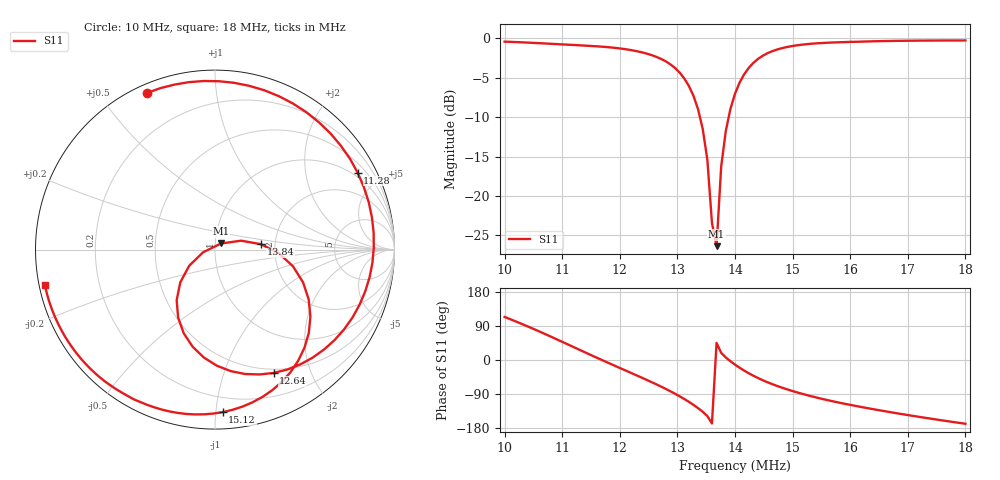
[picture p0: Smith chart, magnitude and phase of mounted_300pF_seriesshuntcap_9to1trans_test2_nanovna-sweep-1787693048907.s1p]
! S11 from mounted_300pF_seriesshuntcap_9to1trans_test2_nanovna-sweep-1787693048907.csv, converted by the rf-network-modeller history importer
# HZ S RI R 50
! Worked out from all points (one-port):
!   101 points, 10 MHz to 18 MHz, reference 50 ohm
!   lowest |S11| = -26.4 dB at 13.68 MHz (marker M1), VSWR 1.10, Z = 53.4 + j3.64 ohm
!   |S11| at or under -10 dB: 13.39 MHz to 13.89 MHz (499.7 kHz wide, 3.66 % of centre)
!   S11 on the Smith chart (normalised r, x): 10 MHz: 0.04, +0.65; 11.28 MHz: 0.82, +3.80; 12.64 MHz: 0.45, -1.48; 13.84 MHz: 1.68, +0.11; 15.12 MHz: 0.10, -1.04; 18 MHz: 0.02, -0.10
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1e7  -0.38 0.8724
1.032e7  -0.063 0.9393
1.056e7  0.1912 0.9123
1.104e7  0.6433 0.6474
1.128e7  0.7948 0.4285
1.16e7  0.8838 0.0947
1.2e7  0.8047 -0.3088
1.232e7  0.6078 -0.5564
1.264e7  0.326 -0.6873
1.288e7  0.0878 -0.6771
1.304e7  -0.0615 -0.6018
1.328e7  -0.2055 -0.3785
1.344e7  -0.1933 -0.1822
1.352e7  -0.1437 -0.09
1.36e7  -0.0659 -0.0145
1.368e7  0.0339 0.034
1.376e7  0.1453 0.0497
1.384e7  0.2559 0.0301
1.4e7  0.4348 -0.0935
1.416e7  0.522 -0.2779
1.44e7  0.4987 -0.5463
1.472e7  0.3188 -0.7836
1.504e7  0.0974 -0.8927
1.512e7  0.0428 -0.9056
1.552e7  -0.2083 -0.9098
1.6e7  -0.4511 -0.8349
1.704e7  -0.8026 -0.5355
1.8e7  -0.9479 -0.1978
